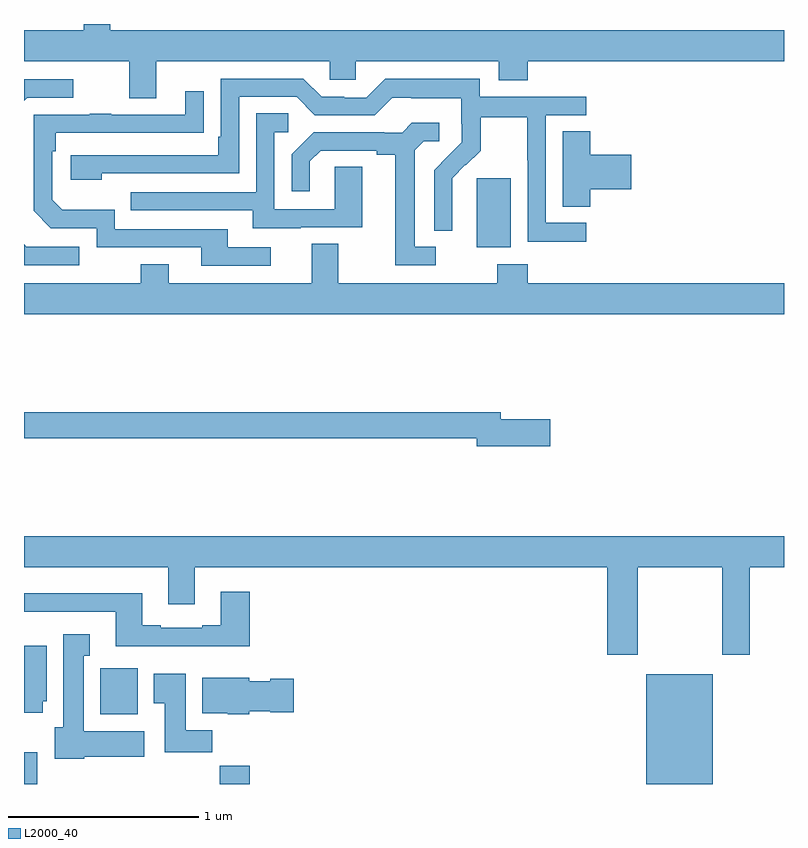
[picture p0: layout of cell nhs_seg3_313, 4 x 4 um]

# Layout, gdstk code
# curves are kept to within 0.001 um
import gdstk
lib = gdstk.Library(unit=1e-6, precision=1e-09)
def R(c, l, rs):  # rectangles x0, y0, x1, y1
    for r in rs: c.add(gdstk.rectangle(r[:2], r[2:], *l))
def P(c, l, *ps):  # polygons
    for p in ps: c.add(gdstk.Polygon(p, *l))
L2000_40 = (2000, 40)

nhs_seg3_313 = lib.new_cell('nhs_seg3_313')
R(nhs_seg3_313, L2000_40, [(125,742.4,125.071,742.567), (126.031,742.4,126.188,742.496), (128.276,742.4,128.626,742.978), (125.402,742.766,125.599,743.008), (127.382,745.226,127.561,745.587)])
P(nhs_seg3_313, L2000_40, [(125.695,746.204),(126.609,746.204),(126.609,746.106),(126.747,746.106),(126.747,746.204),(127.499,746.204),(127.499,746.105),(127.652,746.105),(127.652,746.204),(129,746.204),(129,746.368),(125.455,746.368),(125.455,746.4),(125.315,746.4),(125.315,746.368),(125,746.368),(125,746.204),(125.555,746.204),(125.555,746.01),(125.695,746.01)],
  [(127.96,745.353),(127.746,745.353),(127.746,745.92),(127.96,745.92),(127.96,746.016),(127.398,746.016),(127.398,746.113),(126.901,746.113),(126.801,746.013),(126.686,746.013),(126.686,746.016),(126.567,746.016),(126.471,746.112),(126.036,746.112),(126.036,745.807),(126.023,745.807),(126.023,745.71),(125.247,745.71),(125.247,745.58),(125.408,745.58),(125.408,745.614),(126.132,745.614),(126.132,746.016),(126.435,746.016),(126.531,745.92),(126.846,745.92),(126.939,746.013),(127.039,746.013),(127.039,746.009),(127.302,746.009),(127.302,745.875),(127.304,745.875),(127.304,745.778),(127.158,745.63),(127.158,745.312),(127.254,745.312),(127.253,745.589),(127.323,745.659),(127.326,745.656),(127.403,745.733),(127.403,745.908),(127.648,745.908),(127.648,745.684),(127.65,745.684),(127.65,745.255),(127.96,745.255)],
  [(125.016,746.013),(125.26,746.013),(125.26,746.109),(125,746.109),(125,745.997)],
  [(126.298,745.224),(126.073,745.224),(126.073,745.32),(125.478,745.32),(125.478,745.423),(125.201,745.423),(125.148,745.476),(125.148,745.73),(125.168,745.73),(125.168,745.827),(125.945,745.828),(125.945,746.047),(125.849,746.047),(125.849,745.923),(125.459,745.923),(125.459,745.928),(125.347,745.928),(125.347,745.923),(125.052,745.923),(125.052,745.416),(125.142,745.326),(125.382,745.326),(125.382,745.224),(125.933,745.224),(125.933,745.128),(126.298,745.128)],
  [(126.457,745.329),(126.781,745.329),(126.781,745.649),(126.636,745.649),(126.636,745.425),(126.318,745.425),(126.318,745.83),(126.391,745.83),(126.391,745.931),(126.222,745.931),(126.222,745.515),(125.563,745.515),(125.563,745.419),(126.203,745.419),(126.203,745.325),(126.457,745.325)],
  [(127.168,745.227),(127.057,745.227),(127.057,745.735),(127.104,745.782),(127.186,745.782),(127.186,745.879),(127.042,745.879),(126.99,745.827),(126.896,745.827),(126.896,745.83),(126.524,745.83),(126.408,745.714),(126.408,745.521),(126.505,745.521),(126.505,745.677),(126.562,745.734),(126.857,745.734),(126.857,745.712),(126.953,745.712),(126.953,745.131),(127.168,745.131)],
  [(127.979,745.529),(128.197,745.529),(128.197,745.712),(127.979,745.712),(127.979,745.835),(127.835,745.835),(127.835,745.438),(127.979,745.438)],
  [(129,745.036),(127.652,745.036),(127.652,745.135),(127.492,745.135),(127.492,745.036),(126.655,745.036),(126.655,745.244),(126.515,745.244),(126.515,745.036),(125.761,745.036),(125.761,745.135),(125.614,745.135),(125.614,745.036),(125,745.036),(125,744.872),(129,744.872)],
  [(125.29,745.227),(125.013,745.227),(125,745.24),(125,745.131),(125.29,745.131)],
  [(127.771,744.32),(127.51,744.32),(127.51,744.356),(125,744.356),(125,744.22),(127.382,744.22),(127.382,744.178),(127.771,744.178)],
  [(128.229,743.54),(128.674,743.54),(128.674,743.079),(128.821,743.079),(128.821,743.54),(129,743.54),(129,743.704),(125,743.704),(125,743.54),(125.759,743.54),(125.759,743.346),(125.899,743.346),(125.899,743.54),(128.069,743.54),(128.069,743.079),(128.229,743.079)],
  [(126.188,743.413),(126.035,743.413),(126.035,743.236),(125.939,743.236),(125.939,743.223),(125.719,743.223),(125.719,743.236),(125.623,743.236),(125.623,743.404),(125,743.404),(125,743.307),(125.483,743.307),(125.483,743.126),(126.188,743.126)],
  [(125.316,742.544),(125.632,742.544),(125.632,742.678),(125.314,742.678),(125.314,743.075),(125.347,743.075),(125.347,743.188),(125.207,743.188),(125.207,742.698),(125.162,742.698),(125.162,742.532),(125.316,742.532)],
  [(125.098,742.836),(125.119,742.836),(125.119,743.128),(125,743.128),(125,742.776),(125.098,742.776)],
  [(125.99,742.684),(125.851,742.684),(125.851,742.981),(125.684,742.981),(125.684,742.825),(125.741,742.825),(125.741,742.566),(125.99,742.566)],
  [(126.186,742.784),(126.297,742.784),(126.297,742.777),(126.421,742.777),(126.421,742.955),(126.297,742.955),(126.297,742.942),(126.186,742.942),(126.186,742.96),(125.939,742.96),(125.939,742.772),(126.072,742.772),(126.072,742.766),(126.186,742.766)])

lib.write_gds('nhs_seg3_313.gds')
